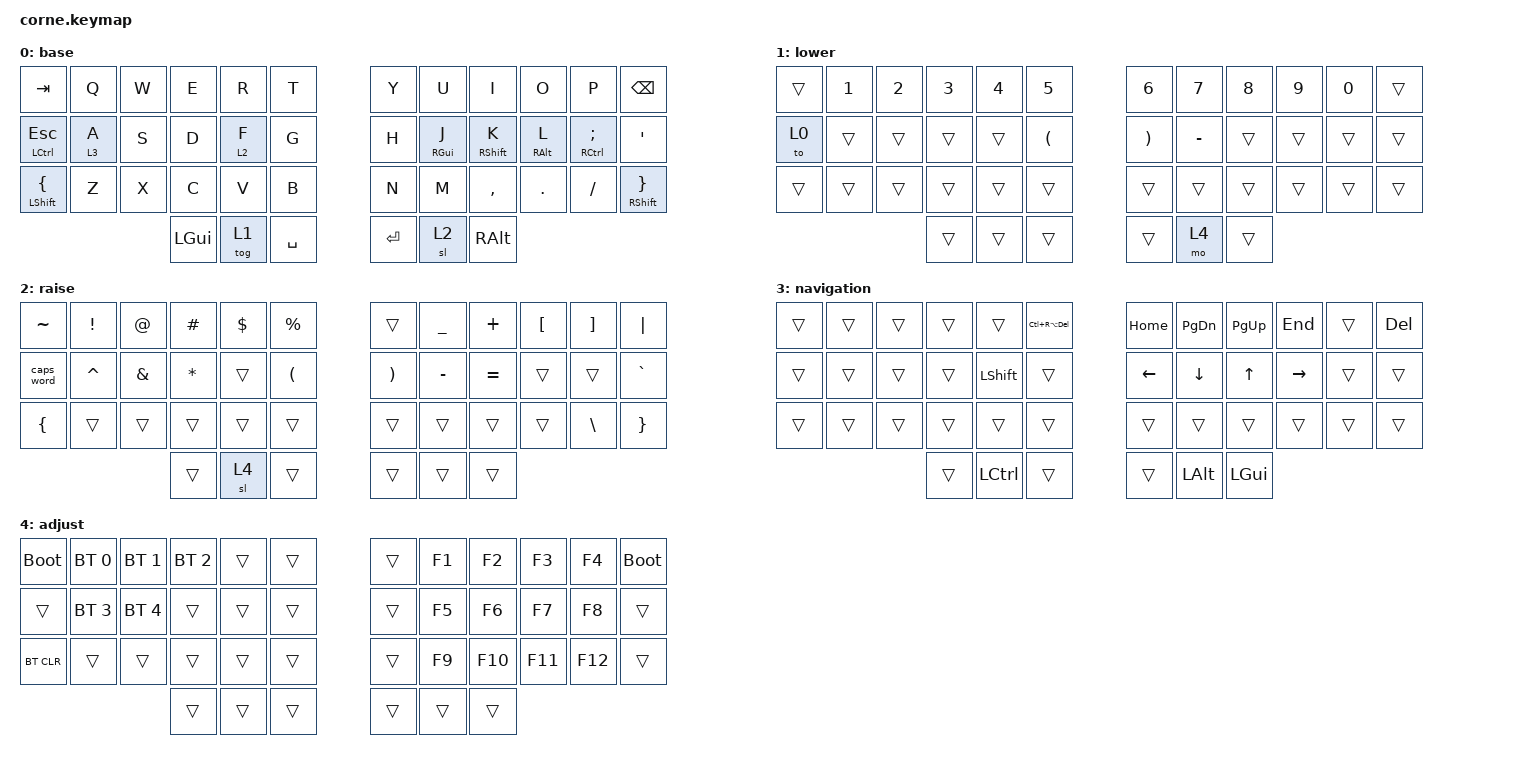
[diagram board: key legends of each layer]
/*
 * Copyright (c) 2020 The ZMK Contributors
 *
 * SPDX-License-Identifier: MIT
 */

#include <behaviors.dtsi>
#include <dt-bindings/zmk/keys.h>
#include <dt-bindings/zmk/bt.h>
#include <dt-bindings/zmk/rgb.h>

&sl {
    release-after-ms = <2000>;
};

/ {
    behaviors {
        hml: home_row_mod_left {
            compatible = "zmk,behavior-hold-tap";
            #binding-cells = <2>;
            flavor = "balanced";
            require-prior-idle-ms = <150>;
            tapping-term-ms = <280>;
            quick-tap-ms = <175>;
            bindings = <&kp>, <&kp>;
            hold-trigger-key-positions = <6 7 8 9 10 11 18 19 20 21 22 23 30 31 32 33 34 35 39 40 41 36 37 38>; // List of keys on the right side of the keyboard
            hold-trigger-on-release;
        };
        hmr: home_row_mod_right {
            compatible = "zmk,behavior-hold-tap";
            #binding-cells = <2>;
            flavor = "balanced";
            require-prior-idle-ms = <150>;
            tapping-term-ms = <280>;
            quick-tap-ms = <175>;
            bindings = <&kp>, <&kp>;
            hold-trigger-key-positions = <39 40 41 0 1 2 4 5 12 13 14 15 16 17 24 25 26 27 28 29 36 37 38 3>; // List of keys on the left side of the keyboard
            hold-trigger-on-release;
        };
    };

    keymap {
        compatible = "zmk,keymap";

// -----------------------------------------------------------------------------------------
// | TAB  |  Q  |  W  |  E  |  R  |  T  |   |  Y  |  U   |  I  |  O  |  P  | BSPC |
// | CTRL |  A  |  S  |  D  |  F  |  G  |   |  H  |  J   |  K  |  L  |  ;  |  '   |
// | SHFT |  Z  |  X  |  C  |  V  |  B  |   |  N  |  M   |  ,  |  .  |  /  | SHFT |
//                    | GUI | LWR | SPC |   | ENT | RSE  | ALT |
        
        default_layer {
            display-name = "base";
            bindings = <
&kp TAB        &kp Q   &kp W  &kp E    &kp R   &kp T       &kp Y   &kp U       &kp I        &kp O       &kp P           &kp BSPC
&mt LCTRL ESC  &lt 3 A &kp S  &kp D    &lt 2 F &kp G       &kp H   &hmr RGUI J &hmr RSHFT K &hmr RALT L &hmr RCTRL SEMI &kp SQT
&mt LSHFT LBRC &kp Z   &kp X  &kp C    &kp V   &kp B       &kp N   &kp M       &kp COMMA    &kp DOT     &kp FSLH        &mt RSHFT RBRC
                              &kp LGUI &tog 1  &kp SPACE   &kp RET &sl 2       &kp RALT
            >;
        };

// -----------------------------------------------------------------------------------------
// |      |  1  |  2  |  3  |  4  |  5  |   |     | F1  | F2  | F3  | F4  |      |
// |      |  6  |  7  |  8  |  9  |  0  |   |     | F5  | F6  | F7  | F8  |      |
// |      |     |     |     |     |     |   |     | F9  | F10 | F11 | F12 |      |
//                    | GUI |     | SPC |   | ENT |     | ALT |

        lower_layer {
            display-name = "lower";
            bindings = <
&trans &kp N1 &kp N2  &kp N3 &kp N4  &kp N5   &kp N6   &kp N7    &kp N8 &kp N9 &kp N0 &trans
&to 0  &trans &trans  &trans &trans  &kp LPAR &kp RPAR &kp MINUS &trans &trans &trans &trans
&trans &trans &trans  &trans &trans  &trans   &trans   &trans    &trans &trans &trans &trans
                      &trans &trans  &trans   &trans   &mo 4     &trans
            >;
        };

// -----------------------------------------------------------------------------------------
// |  ~   |  !  |  @  |  #  |  $  |  %  |   |     |  -  |  =  |  [  |  ]  |  "|" |
// | CAPS |  ^  |  &  |  *  |     |  (  |   |  )  |  _  |  +  |     |     |   `  |
// |  {   |     |     |     |     |     |   |     |     |     |     |  \  |   }  |
//                    | GUI |     | SPC |   | ENT |     | ALT |

        raise_layer {
            display-name = "raise";
            bindings = <
&kp TILDE  &kp EXCL  &kp AT    &kp HASH  &kp DLLR &kp PRCNT  &trans   &kp UNDER &kp PLUS   &kp LBKT &kp RBKT &kp PIPE
&caps_word &kp CARET &kp AMPS  &kp ASTRK &trans   &kp LPAR   &kp RPAR &kp MINUS &kp EQUAL  &trans   &trans   &kp GRAVE
&kp LBRC   &trans    &trans    &trans    &trans   &trans     &trans   &trans    &trans     &trans   &kp BSLH &kp RBRC
                               &trans    &sl 4    &trans     &trans   &trans    &trans
            >;
        };

// -----------------------------------------------------------------------------------------
// |      |     |     |     |     |     |   | HOME| PGDN| PGUP| END |     | DEL  |
// |      |     |     |     | SHFT|     |   | LFT | DWN |  UP | RGT |     |      |
// |      |     |     |     |     |     |   |     |     |     |     |     |      |
//                    |     | CTRL|     |   |     | ALT | GUI |

        nav_layer {
            display-name = "navigation";
            bindings = <
&trans &trans &trans  &trans &trans    &kp LC(RA(DEL)) &kp HOME &kp PG_DN &kp PG_UP &kp END   &trans &kp DEL
&trans &trans &trans  &trans &kp LSHFT &trans          &kp LEFT &kp DOWN  &kp UP    &kp RIGHT &trans &trans
&trans &trans &trans  &trans &trans    &trans          &trans   &trans    &trans    &trans    &trans &trans
                      &trans &kp LCTRL &trans          &trans   &kp LALT  &kp LGUI
            >;
        };

// -----------------------------------------------------------------------------------------
// |      | BT1 | BT2 | BT3 | BT4 | BT5 |   |     |     |     |     |     |      |
// |      |     |     |     |     |     |   |     |     |     |     |     |      |
// |BTCLR |     |     |     |     |     |   |     |     |     |     |     |      |
//                    | GUI |     | SPC |   | ENT |     | ALT |

        adjust_layer {
            display-name = "adjust";
            bindings = <
&bootloader &bt BT_SEL 0 &bt BT_SEL 1 &bt BT_SEL 2 &trans  &trans  &trans &kp F1  &kp F2   &kp F3  &kp F4  &bootloader
&trans      &bt BT_SEL 3 &bt BT_SEL 4 &trans       &trans  &trans  &trans &kp F5  &kp F6   &kp F7  &kp F8  &trans  
&bt BT_CLR  &trans       &trans       &trans       &trans  &trans  &trans &kp F9  &kp F10  &kp F11 &kp F12 &trans
                                      &trans       &trans  &trans  &trans &trans  &trans
            >;
        };
    };
};
